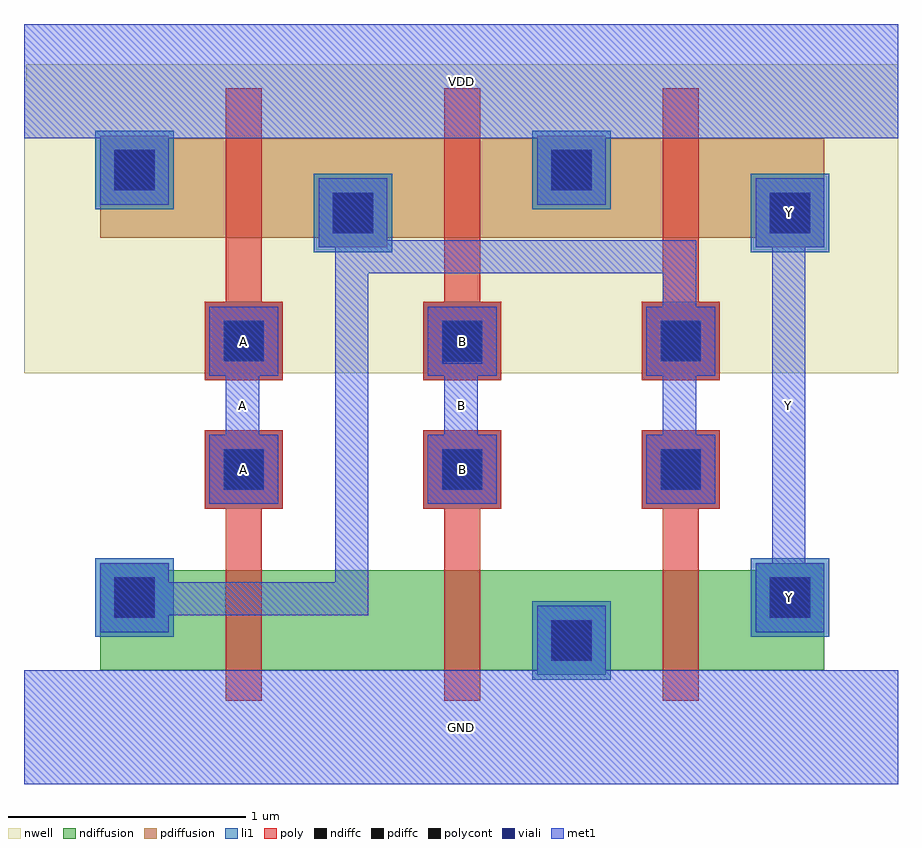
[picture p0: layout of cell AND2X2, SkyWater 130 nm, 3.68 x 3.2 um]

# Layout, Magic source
magic
# Generated by librecell
tech sky130A
<< nwell >>
rect 0 149 368 272
rect 1 272 368 279
<< viali >>
<< viali >>
rect 176 153 193 154
rect 222 28 239 45
rect 38 46 55 63
rect 314 46 331 63
rect 84 100 101 117
rect 176 100 193 117
rect 268 100 285 117
rect 84 154 101 171
rect 176 154 193 171
rect 268 154 285 171
rect 130 208 147 225
rect 314 208 331 225
rect 38 226 55 243
rect 222 226 239 243
<< poly >>
rect 85 11 100 92
rect 76 92 109 125
rect 177 11 192 92
rect 168 92 201 125
rect 269 11 284 92
rect 260 92 293 125
rect 76 146 109 179
rect 85 179 100 269
rect 168 146 201 179
rect 177 179 192 269
rect 260 146 293 179
rect 269 179 284 269
<< properties >>
string FIXED_BBOX 0 0 368 272
<< li1 >>
rect 214 20 247 53
rect 30 38 63 71
rect 306 38 339 71
rect 76 92 109 125
rect 168 92 201 125
rect 260 92 293 125
rect 76 146 109 179
rect 168 146 201 179
rect 260 146 293 179
rect 122 200 155 233
rect 306 200 339 233
rect 30 218 63 251
rect 214 218 247 251
<< met1 >>
rect 0 -24 368 24
rect 216 24 245 51
rect 78 94 107 123
rect 85 123 99 148
rect 78 148 107 177
rect 170 94 199 123
rect 177 123 191 148
rect 170 148 199 177
rect 32 40 61 47
rect 32 47 145 61
rect 32 61 61 69
rect 262 94 291 123
rect 269 123 283 148
rect 262 148 291 177
rect 131 61 145 191
rect 269 177 283 191
rect 131 191 283 202
rect 124 202 283 205
rect 124 205 153 231
rect 308 40 337 69
rect 315 69 329 202
rect 308 202 337 231
rect 32 220 61 248
rect 216 220 245 248
rect 0 248 368 296
<< li1 >>
<< met1 >>
<< li1 >>
<< met1 >>
rect 0 -24 368 24
rect 78 94 107 123
rect 85 123 99 148
rect 78 148 107 177
rect 170 94 199 123
rect 177 123 191 148
rect 170 148 199 177
rect 308 40 337 69
rect 315 69 329 202
rect 308 202 337 231
rect 0 248 368 296
<< ndiffusion >>
rect 216 22 245 24
rect 32 24 337 66
rect 32 66 61 69
rect 308 66 337 69
<< pdiffusion >>
rect 124 202 153 206
rect 308 202 337 206
rect 32 206 337 248
rect 32 248 61 249
rect 216 248 245 249
<< polycont >>
rect 84 100 101 117
rect 176 100 193 117
rect 268 100 285 117
rect 84 154 101 171
rect 176 154 193 171
rect 268 154 285 171
<< pdiffc >>
rect 130 208 147 225
rect 314 208 331 225
rect 38 226 55 243
rect 222 226 239 243
<< ndiffc >>
rect 222 28 239 45
rect 38 46 55 63
rect 314 46 331 63
<< labels >>
rlabel metal2 0 248 368 296 0 VDD
port 1 se
rlabel metal2 0 -24 368 24 0 GND
port 2 se
rlabel metal2 308 40 337 69 0 Y
port 3 se
rlabel metal2 315 69 329 202 0 Y
port 4 se
rlabel metal2 308 202 337 231 0 Y
port 5 se
rlabel metal2 170 94 199 123 0 B
port 6 se
rlabel metal2 177 123 191 148 0 B
port 7 se
rlabel metal2 170 148 199 177 0 B
port 8 se
rlabel metal2 78 94 107 123 0 A
port 9 se
rlabel metal2 85 123 99 148 0 A
port 10 se
rlabel metal2 78 148 107 177 0 A
port 11 se
<< end >>
